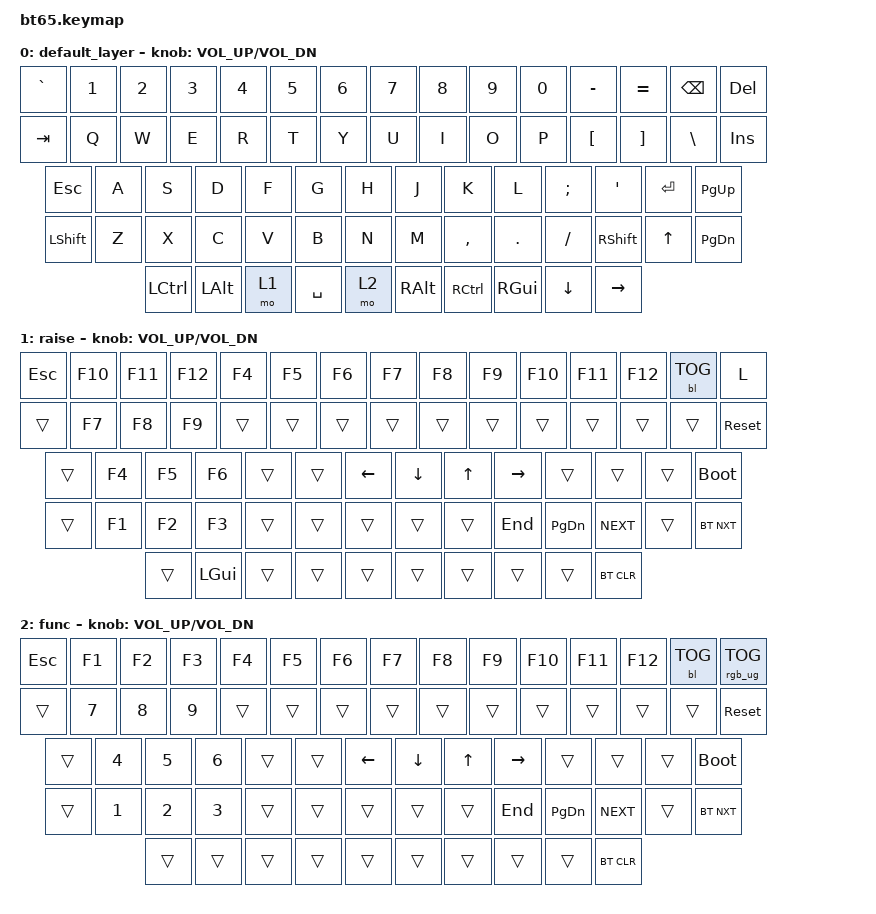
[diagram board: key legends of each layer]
#include <behaviors.dtsi>
#include <dt-bindings/zmk/keys.h>
#include <dt-bindings/zmk/bt.h>
#include <dt-bindings/zmk/rgb.h>
#include <dt-bindings/zmk/backlight.h>
#include <dt-bindings/zmk/ext_power.h>


/ {
	keymap {
		compatible = "zmk,keymap";

		default_layer {
				// ------------------------------------------------------------------------------------------------------------
				// |  `  |  1  |  2  |  3  |  4  |  5  |  6  |  7  |  8  |  9  |  0  |  -  |  =  |BKSP | INS		|
				// | TAB  |  Q  |  W  |  E  |  R  |  T  |  Y  |  U  |  I  |  O  |  P  |  [  |  ]  |   \    | DEL		|
				// | CAPS  |  A  |  S  |  D  |  F  |  G  |  H  |  J  |  K  |  L  |  ;  |  '  |     ENTER    |PGUP	|
				// |  SHIFT  |  Z  |  X  |  C  |  V  |  B  |  N  |  M  |  ,  |  .  | /   |   SHIFT  | UP   | PGDN|
				// |  CTL  |  WIN  |  ALT  |            SPACE               | ALT | 1    |  MENU| LEFT |  DOWN    | RIGHT	|
				// ------------------------------------------------------------------------------------------------------------
			bindings = <

				&kp GRAVE &kp N1 &kp N2 &kp N3 &kp N4 &kp N5 &kp N6 &kp N7 &kp  N8   &kp  N9   &kp N0 &kp MINUS &kp EQUAL &kp BKSP &kp DEL
				&kp TAB  &kp Q  &kp W  &kp E  &kp R  &kp T  &kp Y  &kp U  &kp  I    &kp  O  &kp  P   &kp LBKT &kp RBKT  	&kp BSLH &kp INS
				&kp ESC  &kp A  &kp S  &kp D  &kp F  &kp G  &kp H  &kp J  &kp  K    &kp  L  &kp SEMI &kp SQT           	&kp RET &kp PG_UP
				&kp LSHFT &kp Z  &kp X  &kp C  &kp V  &kp B  &kp N  &kp M  &kp COMMA &kp DOT &kp FSLH   &kp RSHFT &kp UP &kp PG_DN
				&kp LCTRL &kp LALT &mo 1            &kp SPACE                          &mo 2  &kp RALT &kp RCTRL &kp RGUI &kp DOWN &kp RIGHT
			>;
			sensor-bindings = <&inc_dec_kp C_VOL_UP C_VOL_DN>;
		};
		raise {
			bindings = <
				&kp ESC &kp F10 &kp F11 &kp F12 &kp F4 &kp F5 &kp F6 &kp F7 &kp  F8   &kp  F9   &kp F10  &kp F11 &kp F12 &bl BL_TOG &kp L
				&trans &kp F7 &kp F8 &kp F9 &trans &trans &trans &trans &trans &trans &trans &trans &trans &trans &sys_reset
				&trans &kp F4 &kp F5 &kp F6 &trans &trans &kp LEFT &kp DOWN &kp UP &kp RIGHT &trans &trans &trans &bootloader
				&trans &kp F1 &kp F2 &kp F3 &trans &trans &trans &trans &trans &kp END &kp PG_DN  &kp C_NEXT &trans &bt BT_NXT
				&trans &kp LGUI  &trans              &trans                            &trans   &trans   &trans &trans &trans &bt BT_CLR
			>;
			sensor-bindings = <&inc_dec_kp C_VOL_UP C_VOL_DN>;
		};
		func {
			bindings = <
				&kp ESC &kp F1 &kp F2 &kp F3 &kp F4 &kp F5 &kp F6 &kp F7 &kp  F8   &kp  F9   &kp F10  &kp F11 &kp F12 &bl BL_TOG &rgb_ug RGB_TOG
				&trans &kp N7 &kp N8 &kp N9 &trans &trans &trans &trans &trans &trans &trans &trans &trans &trans &sys_reset
				&trans &kp N4 &kp N5 &kp N6 &trans &trans &kp LEFT &kp DOWN &kp UP &kp RIGHT &trans &trans &trans &bootloader
				&trans &kp N1 &kp N2 &kp N3 &trans &trans &trans &trans &trans &kp END &kp PG_DN  &kp C_NEXT &trans &bt BT_NXT
				&trans &trans  &trans              &trans                            &trans   &trans   &trans &trans &trans &bt BT_CLR
			>;
			sensor-bindings = <&inc_dec_kp C_VOL_UP C_VOL_DN>;
		};
	};
};
